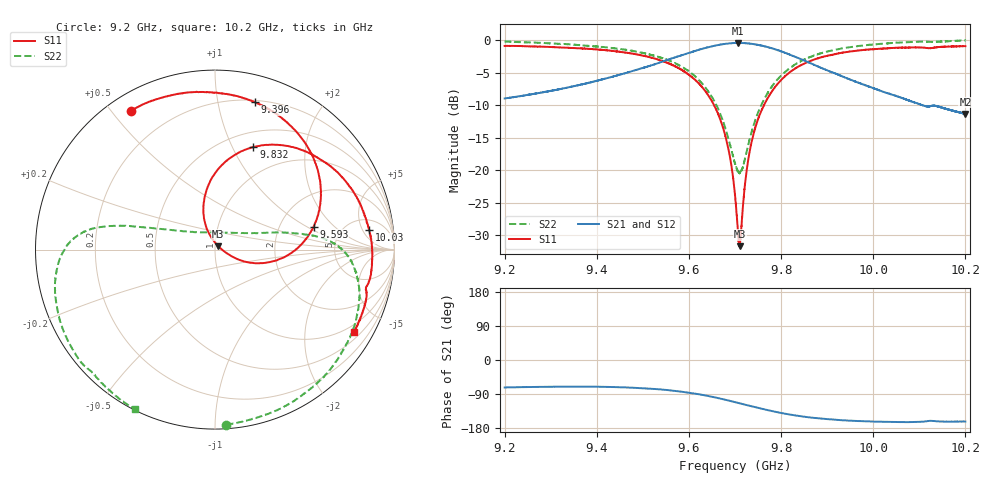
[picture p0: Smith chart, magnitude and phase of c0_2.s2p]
!Agilent Technologies,N5242A,MY51221714,A.09.90.19
!Agilent N5242A: A.09.90.19
!Date: Saturday, March 16, 2024 10:17:45
!Correction: S11(Full 2 Port(1,2))
!S21(Full 2 Port(1,2))
!S12(Full 2 Port(1,2))
!S22(Full 2 Port(1,2))
!S2P File: Measurements: S11, S21, S12, S22:
# Hz S  dB  R 50
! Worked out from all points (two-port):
!   16001 points, 9.2 GHz to 10.2 GHz, reference 50 ohm
!   highest |S21| = -0.42 dB at 9.706 GHz (marker M1); lowest = -11.3 dB at 10.2 GHz (marker M2)
!   |S21| within 3 dB of the highest: 9.538 GHz to 9.859 GHz (321.5 MHz wide, 3.32 % of centre); 9.859377 GHz to 9.859686 GHz (308.4 kHz wide, 0.00313 % of centre)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
!   lowest |S11| = -31.7 dB at 9.71 GHz (marker M3), VSWR 1.05, Z = 51.8 + j1.96 ohm
!   |S11| at or under -10 dB: 9.654 GHz to 9.763 GHz (108.7 MHz wide, 1.12 % of centre)
!   |S22| runs from -20.5 to 0.0 dB; largest |S21 - S12| = 0.012
!   S11 on the Smith chart (normalised r, x): 9.2 GHz: 0.07, +0.56; 9.396 GHz: 0.22, +1.28; 9.593 GHz: 3.11, +1.17; 9.832 GHz: 0.67, +1.21; 10.03 GHz: 8, +7; 10.2 GHz: 0.74, -3.52
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9.2e9  -0.89 121.0  -8.97 -72.6  -8.97 -73.1  -0.20 -86.3
9.27775e9  -0.99 103.5  -8.09 -70.9  -8.07 -71.4  -0.42 -64.6
9.366688e9  -1.27 82.4  -6.83 -70.3  -6.80 -70.8  -0.78 -40.8
9.396062e9  -1.40 75.0  -6.32 -70.5  -6.30 -71.1  -0.95 -33.2
9.463875e9  -1.92 56.5  -5.04 -72.5  -5.03 -73.0  -1.49 -17.3
9.533375e9  -2.99 34.9  -3.52 -77.2  -3.51 -77.6  -2.55 -3.0
9.592875e9  -4.97 13.1  -2.14 -85.1  -2.11 -85.6  -4.46 6.3
9.664375e9  -11.52 -16.4  -0.73 -100.8  -0.74 -101.3  -10.69 18.6
9.686375e9  -16.99 -22.8  -0.51 -107.0  -0.49 -107.6  -15.37 32.6
9.7e9  -23.76 -16.2  -0.44 -111.1  -0.42 -111.7  -19.03 57.3
9.705812e9  -28.93 4.2  -0.42 -113.0  -0.41 -113.5  -20.15 75.4
9.709875e9  -31.69 46.5  -0.43 -114.2  -0.41 -114.7  -20.48 90.1
9.728312e9  -18.58 111.3  -0.50 -119.8  -0.48 -120.5  -16.26 140.5
9.747938e9  -12.60 106.1  -0.70 -125.8  -0.68 -126.4  -11.50 155.8
9.784e9  -7.50 90.2  -1.33 -135.7  -1.34 -136.4  -6.75 163.8
9.832e9  -4.30 69.5  -2.60 -146.4  -2.60 -147.0  -3.67 169.0
9.866688e9  -3.11 56.0  -3.63 -152.2  -3.63 -152.7  -2.49 173.0
9.947438e9  -1.78 29.6  -5.99 -159.9  -5.99 -160.5  -1.09 -174.1
1.002969e10  -1.26 7.2  -8.13 -163.3  -8.12 -163.8  -0.49 -157.2
1.003338e10  -1.23 6.3  -8.20 -163.3  -8.20 -163.8  -0.47 -156.4
1.011025e10  -1.16 -12.2  -10.09 -162.5  -10.09 -163.0  -0.21 -139.2
1.02e10  -0.92 -30.5  -11.34 -162.4  -11.33 -162.9  -0.05 -116.6
